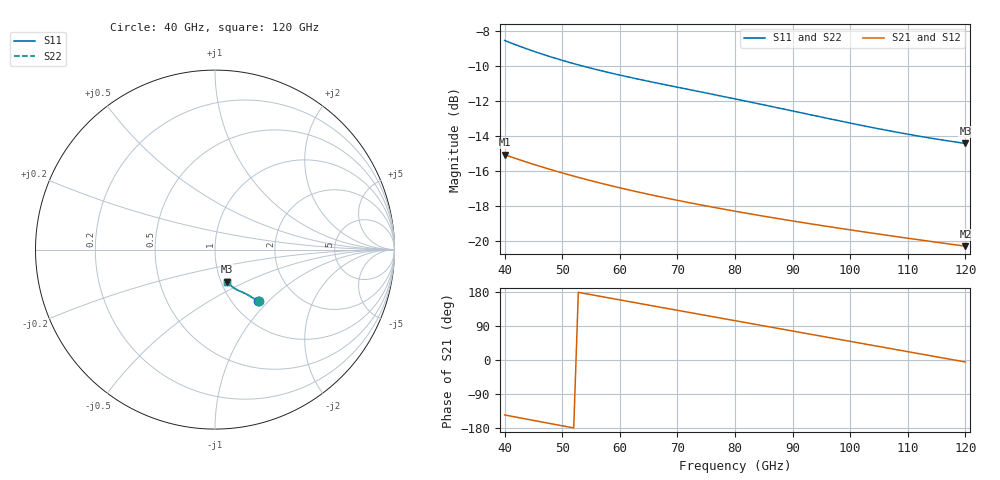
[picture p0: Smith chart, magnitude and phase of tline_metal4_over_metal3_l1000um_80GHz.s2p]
#  GHZ S DB R 50
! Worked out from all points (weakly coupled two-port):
!   101 points, 40 GHz to 120 GHz, reference 50 ohm
!   highest |S21| = -15.05 dB at 40 GHz (marker M1); lowest = -20.3 dB at 120 GHz (marker M2)
!   lowest |S11| = -14.4 dB at 120 GHz (marker M3), VSWR 1.47, Z = 53.6 - j19.8 ohm
!   |S11| at or under -10 dB: 53.63 GHz to end of sweep
!   |S22| runs from -14.4 to -8.5 dB; largest |S21 - S12| = 1.9e-14
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40  -8.53 -49.9  -15.05 -145.0  -15.05 -145.0  -8.52 -49.7
43.2  -8.94 -51.0  -15.41 -154.3  -15.41 -154.3  -8.92 -50.8
46.4  -9.30 -51.9  -15.74 -163.4  -15.74 -163.4  -9.28 -51.7
49.6  -9.63 -52.8  -16.05 -172.4  -16.05 -172.4  -9.61 -52.5
53.6  -10.00 -53.8  -16.41 176.4  -16.41 176.4  -9.97 -53.5
56.8  -10.26 -54.6  -16.68 167.5  -16.68 167.5  -10.24 -54.3
60.8  -10.57 -55.6  -17.00 156.4  -17.00 156.4  -10.54 -55.4
64  -10.79 -56.5  -17.24 147.6  -17.24 147.6  -10.76 -56.3
67.2  -11.01 -57.4  -17.46 138.8  -17.46 138.8  -10.98 -57.2
70.4  -11.23 -58.4  -17.68 130.0  -17.68 130.0  -11.19 -58.1
73.6  -11.44 -59.3  -17.88 121.3  -17.88 121.3  -11.40 -59.1
76.8  -11.65 -60.3  -18.08 112.5  -18.08 112.5  -11.61 -60.1
80  -11.87 -61.3  -18.27 103.8  -18.27 103.8  -11.83 -61.1
83.2  -12.08 -62.2  -18.46 95.0  -18.46 95.0  -12.04 -62.0
86.4  -12.30 -63.2  -18.63 86.3  -18.63 86.3  -12.26 -63.0
89.6  -12.53 -64.0  -18.81 77.6  -18.81 77.6  -12.49 -63.8
93.6  -12.81 -65.0  -19.02 66.7  -19.02 66.7  -12.77 -64.8
100.8  -13.30 -66.5  -19.38 47.1  -19.38 47.1  -13.26 -66.3
107.2  -13.71 -67.5  -19.68 29.6  -19.68 29.6  -13.68 -67.3
110.4  -13.90 -67.9  -19.83 20.9  -19.83 20.9  -13.87 -67.7
113.6  -14.08 -68.3  -19.98 12.2  -19.98 12.2  -14.05 -68.1
120  -14.41 -69.0  -20.27 -5.2  -20.27 -5.2  -14.38 -68.8
